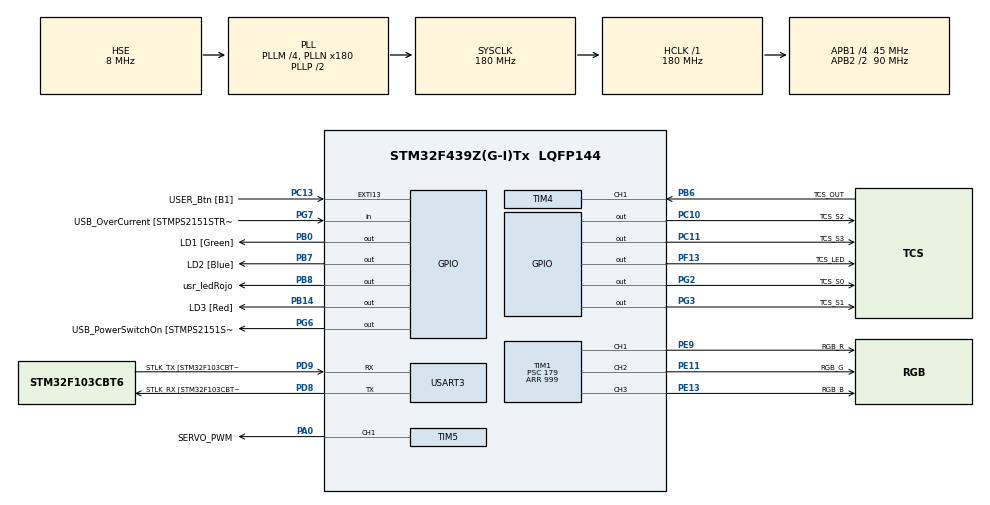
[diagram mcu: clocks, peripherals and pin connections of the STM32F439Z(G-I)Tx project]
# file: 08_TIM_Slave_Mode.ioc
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Mcu.Family=STM32F4
Mcu.Name=STM32F439Z(G-I)Tx
Mcu.Package=LQFP144
NVIC.PriorityGroup=NVIC_PRIORITYGROUP_4
NVIC.TIM3_IRQn=true\:0\:0\:false\:false\:true\:true\:true\:true
NVIC.TIM4_IRQn=true\:0\:0\:false\:false\:true\:true\:true\:true
PA0/WKUP.GPIO_Label=SERVO_PWM
PA0/WKUP.Signal=S_TIM5_CH1
PA13.GPIO_Label=TMS
PA13.Mode=Serial_Wire
PA13.Signal=SYS_JTMS-SWDIO
PA14.GPIO_Label=TCK
PA14.Mode=Serial_Wire
PA14.Signal=SYS_JTCK-SWCLK
PB0.GPIO_Label=LD1 [Green]
PB0.Signal=GPIO_Output
PB14.GPIO_Label=LD3 [Red]
PB14.Signal=GPIO_Output
PB6.GPIO_Label=TCS_OUT
PB6.Signal=S_TIM4_CH1
PB7.GPIO_Label=LD2 [Blue]
PB7.Signal=GPIO_Output
PB8.GPIO_Label=usr_ledRojo
PB8.Signal=GPIO_Output
PC10.GPIO_Label=TCS_S2
PC10.Signal=GPIO_Output
PC11.GPIO_Label=TCS_S3
PC11.Signal=GPIO_Output
PC13.GPIO_Label=USER_Btn [B1]
PC13.Signal=GPXTI13
PC14/OSC32_IN.Mode=LSE-External-Oscillator
PC14/OSC32_IN.Signal=RCC_OSC32_IN
PC15/OSC32_OUT.Mode=LSE-External-Oscillator
PC15/OSC32_OUT.Signal=RCC_OSC32_OUT
PD8.GPIO_Label=STLK_RX [STM32F103CBT6_PA3]
PD8.Mode=Asynchronous
PD8.Signal=USART3_TX
PD9.GPIO_Label=STLK_TX [STM32F103CBT6_PA2]
PD9.Mode=Asynchronous
PD9.Signal=USART3_RX
PE11.GPIO_Label=RGB_G
PE11.Signal=S_TIM1_CH2
PE13.GPIO_Label=RGB_B
PE13.Signal=S_TIM1_CH3
PE9.GPIO_Label=RGB_R
PE9.Signal=S_TIM1_CH1
PF13.GPIO_Label=TCS_LED
PF13.Signal=GPIO_Output
PG2.GPIO_Label=TCS_S0
PG2.PinState=GPIO_PIN_SET
PG2.Signal=GPIO_Output
PG3.GPIO_Label=TCS_S1
PG3.Signal=GPIO_Output
PG6.GPIO_Label=USB_PowerSwitchOn [STMPS2151STR_EN]
PG6.Signal=GPIO_Output
PG7.GPIO_Label=USB_OverCurrent [STMPS2151STR_FAULT]
PG7.Signal=GPIO_Input
PH0/OSC_IN.GPIO_Label=MCO [STM32F103CBT6_PA8]
PH0/OSC_IN.Mode=HSE-External-Oscillator
PH0/OSC_IN.Signal=RCC_OSC_IN
PH1/OSC_OUT.Mode=HSE-External-Oscillator
PH1/OSC_OUT.Signal=RCC_OSC_OUT
ProjectManager.HeapSize=0x200
ProjectManager.StackSize=0x400
ProjectManager.TargetToolchain=STM32CubeIDE
RCC.48MHZClocksFreq_Value=51428571.428571425
RCC.AHBFreq_Value=180000000
RCC.APB1CLKDivider=RCC_HCLK_DIV4
RCC.APB1Freq_Value=45000000
RCC.APB1TimFreq_Value=90000000
RCC.APB2CLKDivider=RCC_HCLK_DIV2
RCC.APB2Freq_Value=90000000
RCC.APB2TimFreq_Value=180000000
RCC.CortexFreq_Value=180000000
RCC.HCLKFreq_Value=180000000
RCC.HSE_VALUE=8000000
RCC.HSI_VALUE=16000000
RCC.PLLM=4
RCC.PLLMUL=RCC_PLL_MUL9
RCC.PLLN=180
RCC.PLLQ=7
RCC.PLLSourceVirtual=RCC_PLLSOURCE_HSE
RCC.PRESCALERUSB=RCC_USBCLKSOURCE_PLL_DIV1_5
RCC.SYSCLKFreq_VALUE=180000000
RCC.SYSCLKSource=RCC_SYSCLKSOURCE_PLLCLK
RCC.SYSCLKSourceVirtual=RCC_SYSCLKSOURCE_PLLCLK
RCC.USBFreq_Value=48000000
RCC.VCOOutputFreq_Value=360000000
SH.S_TIM1_CH1.0=TIM1_CH1,PWM Generation1 CH1
SH.S_TIM1_CH2.0=TIM1_CH2,PWM Generation2 CH2
SH.S_TIM1_CH3.0=TIM1_CH3,PWM Generation3 CH3
SH.S_TIM4_CH1.0=TIM4_CH1,TriggerSource_TI1FP1
SH.S_TIM5_CH1.0=TIM5_CH1,PWM Generation1 CH1
TIM1.Channel-PWM\ Generation1\ CH1=TIM_CHANNEL_1
TIM1.Channel-PWM\ Generation2\ CH2=TIM_CHANNEL_2
TIM1.Channel-PWM\ Generation3\ CH3=TIM_CHANNEL_3
TIM1.Period=999
TIM1.Prescaler=179
TIM3.Channel-PWM\ Generation1\ No\ Output=TIM_CHANNEL_1
TIM3.Period=1000-1
TIM3.Prescaler=9000-1
TIM3.TIM_MasterOutputTrigger=TIM_TRGO_OC1REF
TIM3.TIM_MasterSlaveMode=TIM_MASTERSLAVEMODE_ENABLE
TIM5.Channel-PWM\ Generation1\ CH1=TIM_CHANNEL_1
TIM5.Period=19999
TIM5.Prescaler=89
USART3.VirtualMode=VM_ASYNC
VP_TIM1_VS_ClockSourceINT.Mode=Internal
VP_TIM3_VS_ClockSourceINT.Mode=Internal
VP_TIM3_VS_no_output1.Mode=PWM Generation1 No Output
VP_TIM4_VS_ControllerModeClock.Mode=Clock Mode
VP_TIM5_VS_ClockSourceINT.Mode=Internal
board=NUCLEO-F439ZI

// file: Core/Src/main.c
/* USER CODE BEGIN Header */
/**
 ******************************************************************************
 * @file           : main.c
 * @brief          : Main program body
 ******************************************************************************
 * @attention
 *
 * Copyright (c) 2026 STMicroelectronics.
 * All rights reserved.
 *
 * This software is licensed under terms that can be found in the LICENSE file
 * in the root directory of this software component.
 * If no LICENSE file comes with this software, it is provided AS-IS.
 *
 ******************************************************************************
 */
/* USER CODE END Header */
#include "main.h"

/* USER CODE BEGIN Includes */
#include "rgb_led.h"
#include "servo_sg90.h"
#include "utils.h"
#include "tcs3200.h"
#include <stdio.h>
#include <string.h>
/* USER CODE END Includes */

/* USER CODE BEGIN PD */
typedef enum {
	ESTADO_NEGRO = 0,
	ESTADO_BLANCO,
	ESTADO_ROJO,
	ESTADO_VERDE,
	ESTADO_AZUL,
	ESTADO_AMARILLO, // R+G
	ESTADO_CIAN,     // G+B
	ESTADO_MAGENTA   // R+B
} EstadoColor_t;

// Estructura para evitar hardcoding
typedef struct {
	uint32_t negro;
	uint32_t blanco_entrar;
	uint32_t blanco_salir;
	uint8_t  estabilidad_requerida;
} Config_Umbrales_t;
/* USER CODE END PD */

TIM_HandleTypeDef htim1;
TIM_HandleTypeDef htim3;
TIM_HandleTypeDef htim4;
TIM_HandleTypeDef htim5;

UART_HandleTypeDef huart3;

/* USER CODE BEGIN PV */

// Valores calibrados para tu entorno
Config_Umbrales_t umbrales = {
		.negro = 5000,
		.blanco_entrar = 14000,
		.blanco_salir = 11000,
		.estabilidad_requerida = 2
};

// Variables de estado (deben ser globales o estáticas)
static EstadoColor_t estado_actual = ESTADO_NEGRO;
static uint8_t contador_estabilidad = 0;

Servo_t servoBrazo;

/* --- Objeto para el Led RGB --- */
rgb_led_t ledRGB;

// Instancia del Sensor
TCS3200_t       colorSensor;      // Instancia del driver de Capa 2

/* ========================================================================== */
/* --- DECLARACIÓN DE DESCRIPTORES AGAL PARA TU NUEVO DRIVER MULTIPLATAFORMA - */
/* ========================================================================== */
generic_pwm_t   tcs_counter_ch;
generic_gpio_t  tcs_s0;
generic_gpio_t  tcs_s1;
generic_gpio_t  tcs_s2;
generic_gpio_t  tcs_s3;
generic_gpio_t  tcs_led;

// Buffer para mensajes UART
char msg_buffer[64];

// Variables para lógica de cambio de filtro (Máquina de estados simple)
uint8_t filtro_actual = 0;

/* USER CODE END PV */

void SystemClock_Config(void);
static void MX_GPIO_Init(void);
static void MX_USART3_UART_Init(void);
static void MX_TIM3_Init(void);
static void MX_TIM4_Init(void);
static void MX_TIM1_Init(void);
static void MX_TIM5_Init(void);
/* USER CODE BEGIN PFP */
void Debug_Log(const char *msg);
void Procesar_Logica_Color(void);
void Heartbeat_Handler(void);

/* --- Prototipos de Funciones Adaptadoras (Capa de Acoplamiento / PAL) --- */
void	 PAL_STM32_GPIO_Write(generic_gpio_t gpio, bool state);
bool     PAL_STM32_GPIO_Read(generic_gpio_t gpio);
void     PAL_STM32_PWM_Write(generic_pwm_t ch, uint16_t value);
uint32_t PAL_STM32_GetTick(void);
uint32_t PAL_STM32_GetTimerCounter(generic_pwm_t ch);
void 	 PAL_STM32_SetTimerCounter(generic_pwm_t ch, uint32_t value);
uint32_t PAL_STM32_GetUs(void);

/* USER CODE END PFP */

/* USER CODE BEGIN 0 */
/**
 * @brief Envía un mensaje por UART3 de forma simplificada.
 * @param msg Cadena de texto a transmitir.
 */
void Debug_Log(const char *msg) {
	HAL_UART_Transmit(&huart3, (uint8_t*)msg, strlen(msg), 100);
}

void Procesar_Logica_Color(void) {
	colorSensor.measurement_ready = 0; // Ack de la medición

	// Paso 1: Solo procesamos cuando el ciclo RGB está completo (filtro azul terminado)
	if (filtro_actual == 2) {
		uint32_t r = colorSensor.frequency_red;
		uint32_t g = colorSensor.frequency_green;
		uint32_t b = colorSensor.frequency_blue;
		uint8_t nuevo_estado_raw;

		// --- Lógica de Decisión con Histéresis Optimizada (UTN FRT) ---
		uint32_t limite_blanco = (estado_actual == ESTADO_BLANCO) ?
				umbrales.blanco_salir : umbrales.blanco_entrar;

		// 1. Filtro de Negro / Fondo (Blindado contra ruido ambiente a < 5500)
		if (r < 5500 && g < 5500 && b < 5500) {
			nuevo_estado_raw = ESTADO_NEGRO;
		}
		// 2. Filtro de Blanco (Todos firmes arriba del límite de saturación)
		else if (r > limite_blanco && g > limite_blanco && b > limite_blanco) {
			nuevo_estado_raw = ESTADO_BLANCO;
		}
		// 3. Paleta de Colores por Relaciones de Aspecto Reales (Evidencia empírica)
		else {
			// Imprimimos la telemetría cruda en la UART para auditoría visual
			char msg_calibracion[64];
			sprintf(msg_calibracion, "RAW-> R:%lu G:%lu B:%lu\r\n", r, g, b);
			Debug_Log(msg_calibracion);

			// AMARILLO (R y G explotan hacia arriba, superan holgadamente al Azul)
			if (r > (b * 1.3f) && g > (b * 1.1f) && r > 12000) {
				nuevo_estado_raw = ESTADO_AMARILLO;
			}
			// MAGENTA (Exigimos que B supere los 7500 para dejar afuera al Rojo Puro de 6420)
			else if (r > (g * 1.5f) && b > (g * 1.5f) && b > 7500) {
				nuevo_estado_raw = ESTADO_MAGENTA;
			}
			// CIAN o AZUL (B y G dominan por completo al Rojo)
			else if (b > r && g > r && b > 10000) {
				// Si G aporta significativamente respecto a B es CIAN, sino es Azul Puro
				if (g > (b * 0.6f)) {
					nuevo_estado_raw = ESTADO_CIAN;
				} else {
					nuevo_estado_raw = ESTADO_AZUL;
				}
			}
			// --- COLORES PRIMARIOS PUROS (Por descarte directo si fallan las mezclas) ---
			else {
				if (r > g && r > b) {
					nuevo_estado_raw = ESTADO_ROJO;
				}
				else if (b > r && b > g) {
					nuevo_estado_raw = ESTADO_AZUL;
				}
				else {
					nuevo_estado_raw = ESTADO_VERDE;
				}
			}
		}

		// --- Filtro de Estabilidad (Anti-rebote de Capa 3) ---
		if (nuevo_estado_raw != estado_actual) {
			contador_estabilidad++;
			if (contador_estabilidad >= umbrales.estabilidad_requerida) {
				estado_actual = nuevo_estado_raw;
				contador_estabilidad = 0;

				// --- Ejecución de Acciones (Actuadores mediante abstracción PAL) ---
				switch (estado_actual) {
				case ESTADO_NEGRO:
					RGB_LED_SetColor(&ledRGB, 0, 0, 0);                 // LED Apagado
					SERVO_SG90_SetSpeedAngle(&servoBrazo, 0, 180.0f);   // Regresa suave a 0°
					Debug_Log(">> ESTABLE: NEGRO / VACÍO\r\n");
					break;
				case ESTADO_ROJO:
					RGB_LED_SetColor(&ledRGB, 1000, 0, 0);              // Rojo Puro
					SERVO_SG90_SetSpeedAngle(&servoBrazo, 25, 180.0f);  // Mover a 25°
					Debug_Log(">> ESTABLE: ROJO\r\n");
					break;
				case ESTADO_AMARILLO:
					RGB_LED_SetColor(&ledRGB, 1000, 1000, 0);           // Mezcla Amarillo
					SERVO_SG90_SetSpeedAngle(&servoBrazo, 50, 180.0f);  // Mover a 50°
					Debug_Log(">> ESTABLE: AMARILLO\r\n");
					break;
				case ESTADO_VERDE:
					RGB_LED_SetColor(&ledRGB, 0, 1000, 0);              // Verde Puro
					SERVO_SG90_SetSpeedAngle(&servoBrazo, 75, 180.0f);  // Mover a 75°
					Debug_Log(">> ESTABLE: VERDE\r\n");
					break;
				case ESTADO_CIAN:
					RGB_LED_SetColor(&ledRGB, 0, 1000, 1000);           // Mezcla Cian
					SERVO_SG90_SetSpeedAngle(&servoBrazo, 100, 180.0f); // Mover a 100°
					Debug_Log(">> ESTABLE: CIAN\r\n");
					break;
				case ESTADO_AZUL:
					RGB_LED_SetColor(&ledRGB, 0, 0, 1000);              // Azul Puro
					SERVO_SG90_SetSpeedAngle(&servoBrazo, 125, 180.0f); // Mover a 125°
					Debug_Log(">> ESTABLE: AZUL\r\n");
					break;
				case ESTADO_MAGENTA:
					RGB_LED_SetColor(&ledRGB, 1000, 0, 1000);           // Mezcla Magenta
					SERVO_SG90_SetSpeedAngle(&servoBrazo, 150, 180.0f); // Mover a 150°
					Debug_Log(">> ESTABLE: MAGENTA\r\n");
					break;
				case ESTADO_BLANCO:
					RGB_LED_SetColor(&ledRGB, 1000, 1000, 1000);        // Blanco Brillante
					SERVO_SG90_SetSpeedAngle(&servoBrazo, 180, 180.0f); // Mover a 180°
					Debug_Log(">> ESTABLE: BLANCO\r\n");
					break;
				}
			}
		} else {
			contador_estabilidad = 0; // Reset si el color se consolidó
		}
	}

	// Paso 2: Secuenciador de filtros (Independiente del procesamiento)
	// Mantiene al hardware rotando de manera constante
	filtro_actual++;
	if(filtro_actual > 2) filtro_actual = 0;

	switch(filtro_actual) {
	case 0: TCS3200_SetFilter(&colorSensor, TCS_FILTER_RED);   break;
	case 1: TCS3200_SetFilter(&colorSensor, TCS_FILTER_GREEN); break;
	case 2: TCS3200_SetFilter(&colorSensor, TCS_FILTER_BLUE);  break;
	}
}

void Heartbeat_Handler(void) {
	static uint32_t last_tick = 0;
	// Parpadea cada 500ms sin importar qué pase con el resto del código
	if (HAL_GetTick() - last_tick >= 500) {
		HAL_GPIO_TogglePin(usr_ledRojo_GPIO_Port, usr_ledRojo_Pin);
		last_tick = HAL_GetTick();
	}
}

/* ========================================================================== */
/* ---- IMPLEMENTACIÓN DE ADAPTADORES DE HARDWARE (CONTRATOS PAL) ----------- */
/* ========================================================================== */

/* --- Adaptadores para PAL Universal --- */

void PAL_STM32_GPIO_Write(generic_gpio_t gpio, bool state) {
	HAL_GPIO_WritePin((GPIO_TypeDef*)gpio.port, gpio.pin, state ? GPIO_PIN_SET : GPIO_PIN_RESET);
}

bool PAL_STM32_GPIO_Read(generic_gpio_t gpio) {
	return (HAL_GPIO_ReadPin((GPIO_TypeDef*)gpio.port, gpio.pin) == GPIO_PIN_SET);
}

void PAL_STM32_PWM_Write(generic_pwm_t ch, uint16_t value) {
	__HAL_TIM_SET_COMPARE((TIM_HandleTypeDef*)ch.timer_handle, ch.channel, value);
}

uint32_t PAL_STM32_GetTick(void) {
	return HAL_GetTick();
}

uint32_t PAL_STM32_GetTimerCounter(generic_pwm_t ch) {
	return __HAL_TIM_GET_COUNTER((TIM_HandleTypeDef*)ch.timer_handle);
}

// 2. Reutilizamos PWM_Write para resetear el contador (escribe en el registro del Timer)
void PAL_STM32_SetTimerCounter(generic_pwm_t ch, uint32_t value) {
	__HAL_TIM_SET_COUNTER((TIM_HandleTypeDef*)ch.timer_handle, value);
}

// 3. Adaptador de microsegundos mediante el registro CYCCNT del DWT interno del Cortex-M4
uint32_t PAL_STM32_GetUs(void) {
	return UTILS_GetUs();
}

/* USER CODE END 0 */

int main(void)
{

  /* MCU Configuration--------------------------------------------------------*/

  /* Reset of all peripherals, Initializes the Flash interface and the Systick. */
  HAL_Init();

  /* Configure the system clock */
  SystemClock_Config();

  /* Initialize all configured peripherals */
  MX_GPIO_Init();
  MX_USART3_UART_Init();
  MX_TIM3_Init();
  MX_TIM4_Init();
  MX_TIM1_Init();
  MX_TIM5_Init();
  /* USER CODE BEGIN 2 */

	// ==========================================================================
	// INICIALIZACIÓN DEL REGISTRO DWT (Cortex-M4 Cycle Counter)
	// ==========================================================================
	UTILS_DWT_Init();

	// ==========================================================================
	// 0. CONFIGURACIÓN DE LA PAL UNIVERSAL COMPARTIDA
	// ==========================================================================
	hal_interface_t sys_pal = {
			.pwm_write     = PAL_STM32_PWM_Write,
			.gpio_read     = PAL_STM32_GPIO_Read,
			.gpio_write    = PAL_STM32_GPIO_Write,
			.get_tick      = PAL_STM32_GetTick,
			.get_timer_cnt = PAL_STM32_GetTimerCounter,
			.oc_write      = PAL_STM32_SetTimerCounter,
			.get_us        = PAL_STM32_GetUs
	};

	// ==========================================================================
	// 1. CONFIGURACIÓN DEL SERVO SG90
	// ==========================================================================
	// Descriptor del canal PWM para el Servo (TIM5 Canal 1)
	generic_pwm_t servo_pwm = { .timer_handle = &htim5, .channel = TIM_CHANNEL_1 };

	// Inicialización con inyección de la PAL Universal
	SERVO_SG90_Init(&servoBrazo, servo_pwm, sys_pal, 520, 2540);

	/* Iniciar hardware del Timer (Específico de la capa de acoplamiento ST) */
	HAL_TIM_PWM_Start(&htim5, TIM_CHANNEL_1);
	Debug_Log("[OK] Periferico TIM5: PWM Servo Listo (Canal 2)\r\n");

	// ==========================================================================
	// 2. CONFIGURACION DEL LED RGB
	// ==========================================================================
	generic_pwm_t ch_r = { .timer_handle = &htim1, .channel = TIM_CHANNEL_1 };
	generic_pwm_t ch_g = { .timer_handle = &htim1, .channel = TIM_CHANNEL_2 };
	generic_pwm_t ch_b = { .timer_handle = &htim1, .channel = TIM_CHANNEL_3 };

	// Inyectamos la misma PAL Universal compartida
	RGB_LED_Init(&ledRGB, ch_r, ch_g, ch_b, RGB_ANODE_COMMON, 500, sys_pal);
	RGB_LED_SetColor(&ledRGB, 0, 0, 0);

	HAL_TIM_PWM_Start(&htim1, TIM_CHANNEL_1);
	HAL_TIM_PWM_Start(&htim1, TIM_CHANNEL_2);
	HAL_TIM_PWM_Start(&htim1, TIM_CHANNEL_3);
	Debug_Log("[OK] Periferico TIM1: PWM RGB Activo\r\n");

	// ==========================================================================
	// 3. CONFIGURACIÓN DEL SENSOR TCS3200 MULTIPLATAFORMA (Estrategia Sampling)
	// ==========================================================================
	// Vinculamos el Timer Contador (TIM4) al descriptor genérico
	tcs_counter_ch.timer_handle = &htim4;
	tcs_counter_ch.channel      = TIM_CHANNEL_1; // Cumplimos con la firma genérica

	// Mapeo de los Pines GPIO al formato de la PAL Universal
	tcs_s0.port  = TCS_S0_GPIO_Port;  tcs_s0.pin  = TCS_S0_Pin;
	tcs_s1.port  = TCS_S1_GPIO_Port;  tcs_s1.pin  = TCS_S1_Pin;
	tcs_s2.port  = TCS_S2_GPIO_Port;  tcs_s2.pin  = TCS_S2_Pin;
	tcs_s3.port  = TCS_S3_GPIO_Port;  tcs_s3.pin  = TCS_S3_Pin;
	tcs_led.port = TCS_LED_GPIO_Port; tcs_led.pin = TCS_LED_Pin;

	// Inicialización del nuevo Driver Agnóstico inyectando la PAL
	TCS3200_Init(&colorSensor, sys_pal, tcs_counter_ch);

	// Configuración de los pines a través de la API portátil
	TCS3200_ConfigGPIO(&colorSensor, tcs_s0, tcs_s1, tcs_s2, tcs_s3, tcs_led);

	// --- 3. Control Inicial Genérico ---
	TCS3200_ControlLED(&colorSensor, TCS_LED_ON);    // Prender luz frontal por PAL
	TCS3200_SetFilter(&colorSensor, TCS_FILTER_RED); // Empezar leyendo ROJO por PAL

	Debug_Log("--- Sistema Iniciado: Driver TCS3200 Multiplataforma ---\r\n");

	// --- 4. Arrancar Medición Continua (Especificidad del Silicio ST) ---
	// Reseteamos y encendemos los timers nativos para que el conteo empiece físicamente
	__HAL_TIM_SET_COUNTER(&htim4, 0);
	HAL_TIM_Base_Start(&htim4);     // TIM4 cuenta pulsos en PB6 de forma autónoma
	HAL_TIM_Base_Start_IT(&htim3);  // TIM3 abre la ventana cada 100ms con interrupción

  /* USER CODE END 2 */

  /* Infinite loop */
	while (1)
	{

    /* USER CODE BEGIN 3 */
		// 1. Tarea del Sensor (Cada 100ms procesa color)
		if (colorSensor.measurement_ready) {
			Procesar_Logica_Color();
		}

		// 2. Tarea del Servo (Actualiza la posición suave en cada vuelta)
		SERVO_SG90_Update(&servoBrazo);

		// 3. Heartbeat (LED de estado)
		Heartbeat_Handler();
	}
  /* USER CODE END 3 */
}

void SystemClock_Config(void)
{
  RCC_OscInitTypeDef RCC_OscInitStruct = {0};
  RCC_ClkInitTypeDef RCC_ClkInitStruct = {0};

  /** Configure the main internal regulator output voltage
  */
  __HAL_RCC_PWR_CLK_ENABLE();
  __HAL_PWR_VOLTAGESCALING_CONFIG(PWR_REGULATOR_VOLTAGE_SCALE1);

  /** Initializes the RCC Oscillators according to the specified parameters
  * in the RCC_OscInitTypeDef structure.
  */
  RCC_OscInitStruct.OscillatorType = RCC_OSCILLATORTYPE_HSE;
  RCC_OscInitStruct.HSEState = RCC_HSE_ON;
  RCC_OscInitStruct.PLL.PLLState = RCC_PLL_ON;
  RCC_OscInitStruct.PLL.PLLSource = RCC_PLLSOURCE_HSE;
  RCC_OscInitStruct.PLL.PLLM = 4;
  RCC_OscInitStruct.PLL.PLLN = 180;
  RCC_OscInitStruct.PLL.PLLP = RCC_PLLP_DIV2;
  RCC_OscInitStruct.PLL.PLLQ = 7;
  if (HAL_RCC_OscConfig(&RCC_OscInitStruct) != HAL_OK)
  {
    Error_Handler();
  }

  /** Activate the Over-Drive mode
  */
  if (HAL_PWREx_EnableOverDrive() != HAL_OK)
  {
    Error_Handler();
  }

  /** Initializes the CPU, AHB and APB buses clocks
  */
  RCC_ClkInitStruct.ClockType = RCC_CLOCKTYPE_HCLK|RCC_CLOCKTYPE_SYSCLK
                              |RCC_CLOCKTYPE_PCLK1|RCC_CLOCKTYPE_PCLK2;
  RCC_ClkInitStruct.SYSCLKSource = RCC_SYSCLKSOURCE_PLLCLK;
  RCC_ClkInitStruct.AHBCLKDivider = RCC_SYSCLK_DIV1;
  RCC_ClkInitStruct.APB1CLKDivider = RCC_HCLK_DIV4;
  RCC_ClkInitStruct.APB2CLKDivider = RCC_HCLK_DIV2;

  if (HAL_RCC_ClockConfig(&RCC_ClkInitStruct, FLASH_LATENCY_5) != HAL_OK)
  {
    Error_Handler();
  }
}

static void MX_TIM1_Init(void)
{

  TIM_ClockConfigTypeDef sClockSourceConfig = {0};
  TIM_MasterConfigTypeDef sMasterConfig = {0};
  TIM_OC_InitTypeDef sConfigOC = {0};
  TIM_BreakDeadTimeConfigTypeDef sBreakDeadTimeConfig = {0};

  htim1.Instance = TIM1;
  htim1.Init.Prescaler = 179;
  htim1.Init.CounterMode = TIM_COUNTERMODE_UP;
  htim1.Init.Period = 999;
  htim1.Init.ClockDivision = TIM_CLOCKDIVISION_DIV1;
  htim1.Init.RepetitionCounter = 0;
  htim1.Init.AutoReloadPreload = TIM_AUTORELOAD_PRELOAD_DISABLE;
  if (HAL_TIM_Base_Init(&htim1) != HAL_OK)
  {
    Error_Handler();
  }
  sClockSourceConfig.ClockSource = TIM_CLOCKSOURCE_INTERNAL;
  if (HAL_TIM_ConfigClockSource(&htim1, &sClockSourceConfig) != HAL_OK)
  {
    Error_Handler();
  }
  if (HAL_TIM_PWM_Init(&htim1) != HAL_OK)
  {
    Error_Handler();
  }
  sMasterConfig.MasterOutputTrigger = TIM_TRGO_RESET;
  sMasterConfig.MasterSlaveMode = TIM_MASTERSLAVEMODE_DISABLE;
  if (HAL_TIMEx_MasterConfigSynchronization(&htim1, &sMasterConfig) != HAL_OK)
  {
    Error_Handler();
  }
  sConfigOC.OCMode = TIM_OCMODE_PWM1;
  sConfigOC.Pulse = 0;
  sConfigOC.OCPolarity = TIM_OCPOLARITY_HIGH;
  sConfigOC.OCNPolarity = TIM_OCNPOLARITY_HIGH;
  sConfigOC.OCFastMode = TIM_OCFAST_DISABLE;
  sConfigOC.OCIdleState = TIM_OCIDLESTATE_RESET;
  sConfigOC.OCNIdleState = TIM_OCNIDLESTATE_RESET;
  if (HAL_TIM_PWM_ConfigChannel(&htim1, &sConfigOC, TIM_CHANNEL_1) != HAL_OK)
  {
    Error_Handler();
  }
  if (HAL_TIM_PWM_ConfigChannel(&htim1, &sConfigOC, TIM_CHANNEL_2) != HAL_OK)
  {
    Error_Handler();
  }
  if (HAL_TIM_PWM_ConfigChannel(&htim1, &sConfigOC, TIM_CHANNEL_3) != HAL_OK)
  {
    Error_Handler();
  }
  sBreakDeadTimeConfig.OffStateRunMode = TIM_OSSR_DISABLE;
  sBreakDeadTimeConfig.OffStateIDLEMode = TIM_OSSI_DISABLE;
  sBreakDeadTimeConfig.LockLevel = TIM_LOCKLEVEL_OFF;
  sBreakDeadTimeConfig.DeadTime = 0;
  sBreakDeadTimeConfig.BreakState = TIM_BREAK_DISABLE;
  sBreakDeadTimeConfig.BreakPolarity = TIM_BREAKPOLARITY_HIGH;
  sBreakDeadTimeConfig.AutomaticOutput = TIM_AUTOMATICOUTPUT_DISABLE;
  if (HAL_TIMEx_ConfigBreakDeadTime(&htim1, &sBreakDeadTimeConfig) != HAL_OK)
  {
    Error_Handler();
  }
  HAL_TIM_MspPostInit(&htim1);

}

static void MX_TIM3_Init(void)
{

  TIM_ClockConfigTypeDef sClockSourceConfig = {0};
  TIM_MasterConfigTypeDef sMasterConfig = {0};
  TIM_OC_InitTypeDef sConfigOC = {0};

  htim3.Instance = TIM3;
  htim3.Init.Prescaler = 9000-1;
  htim3.Init.CounterMode = TIM_COUNTERMODE_UP;
  htim3.Init.Period = 1000-1;
  htim3.Init.ClockDivision = TIM_CLOCKDIVISION_DIV1;
  htim3.Init.AutoReloadPreload = TIM_AUTORELOAD_PRELOAD_DISABLE;
  if (HAL_TIM_Base_Init(&htim3) != HAL_OK)
  {
    Error_Handler();
  }
  sClockSourceConfig.ClockSource = TIM_CLOCKSOURCE_INTERNAL;
  if (HAL_TIM_ConfigClockSource(&htim3, &sClockSourceConfig) != HAL_OK)
  {
    Error_Handler();
  }
  if (HAL_TIM_PWM_Init(&htim3) != HAL_OK)
  {
    Error_Handler();
  }
  sMasterConfig.MasterOutputTrigger = TIM_TRGO_OC1REF;
  sMasterConfig.MasterSlaveMode = TIM_MASTERSLAVEMODE_ENABLE;
  if (HAL_TIMEx_MasterConfigSynchronization(&htim3, &sMasterConfig) != HAL_OK)
  {
    Error_Handler();
  }
  sConfigOC.OCMode = TIM_OCMODE_PWM1;
  sConfigOC.Pulse = 0;
  sConfigOC.OCPolarity = TIM_OCPOLARITY_HIGH;
  sConfigOC.OCFastMode = TIM_OCFAST_DISABLE;
  if (HAL_TIM_PWM_ConfigChannel(&htim3, &sConfigOC, TIM_CHANNEL_1) != HAL_OK)
  {
    Error_Handler();
  }

}

static void MX_TIM4_Init(void)
{

  TIM_SlaveConfigTypeDef sSlaveConfig = {0};
  TIM_MasterConfigTypeDef sMasterConfig = {0};

  htim4.Instance = TIM4;
  htim4.Init.Prescaler = 0;
  htim4.Init.CounterMode = TIM_COUNTERMODE_UP;
  htim4.Init.Period = 65535;
  htim4.Init.ClockDivision = TIM_CLOCKDIVISION_DIV1;
  htim4.Init.AutoReloadPreload = TIM_AUTORELOAD_PRELOAD_DISABLE;
  if (HAL_TIM_Base_Init(&htim4) != HAL_OK)
  {
    Error_Handler();
  }
  sSlaveConfig.SlaveMode = TIM_SLAVEMODE_EXTERNAL1;
  sSlaveConfig.InputTrigger = TIM_TS_TI1FP1;
  sSlaveConfig.TriggerPolarity = TIM_TRIGGERPOLARITY_RISING;
  sSlaveConfig.TriggerFilter = 0;
  if (HAL_TIM_SlaveConfigSynchro(&htim4, &sSlaveConfig) != HAL_OK)
  {
    Error_Handler();
  }
  sMasterConfig.MasterOutputTrigger = TIM_TRGO_RESET;
  sMasterConfig.MasterSlaveMode = TIM_MASTERSLAVEMODE_DISABLE;
  if (HAL_TIMEx_MasterConfigSynchronization(&htim4, &sMasterConfig) != HAL_OK)
  {
    Error_Handler();
  }

}

static void MX_TIM5_Init(void)
{

  TIM_ClockConfigTypeDef sClockSourceConfig = {0};
  TIM_MasterConfigTypeDef sMasterConfig = {0};
  TIM_OC_InitTypeDef sConfigOC = {0};

  htim5.Instance = TIM5;
  htim5.Init.Prescaler = 89;
  htim5.Init.CounterMode = TIM_COUNTERMODE_UP;
  htim5.Init.Period = 19999;
  htim5.Init.ClockDivision = TIM_CLOCKDIVISION_DIV1;
  htim5.Init.AutoReloadPreload = TIM_AUTORELOAD_PRELOAD_DISABLE;
  if (HAL_TIM_Base_Init(&htim5) != HAL_OK)
  {
    Error_Handler();
  }
  sClockSourceConfig.ClockSource = TIM_CLOCKSOURCE_INTERNAL;
  if (HAL_TIM_ConfigClockSource(&htim5, &sClockSourceConfig) != HAL_OK)
  {
    Error_Handler();
  }
  if (HAL_TIM_PWM_Init(&htim5) != HAL_OK)
  {
    Error_Handler();
  }
  sMasterConfig.MasterOutputTrigger = TIM_TRGO_RESET;
  sMasterConfig.MasterSlaveMode = TIM_MASTERSLAVEMODE_DISABLE;
  if (HAL_TIMEx_MasterConfigSynchronization(&htim5, &sMasterConfig) != HAL_OK)
  {
    Error_Handler();
  }
  sConfigOC.OCMode = TIM_OCMODE_PWM1;
  sConfigOC.Pulse = 0;
  sConfigOC.OCPolarity = TIM_OCPOLARITY_HIGH;
  sConfigOC.OCFastMode = TIM_OCFAST_DISABLE;
  if (HAL_TIM_PWM_ConfigChannel(&htim5, &sConfigOC, TIM_CHANNEL_1) != HAL_OK)
  {
    Error_Handler();
  }
  HAL_TIM_MspPostInit(&htim5);

}

static void MX_USART3_UART_Init(void)
{

  huart3.Instance = USART3;
  huart3.Init.BaudRate = 115200;
  huart3.Init.WordLength = UART_WORDLENGTH_8B;
  huart3.Init.StopBits = UART_STOPBITS_1;
  huart3.Init.Parity = UART_PARITY_NONE;
  huart3.Init.Mode = UART_MODE_TX_RX;
  huart3.Init.HwFlowCtl = UART_HWCONTROL_NONE;
  huart3.Init.OverSampling = UART_OVERSAMPLING_16;
  if (HAL_UART_Init(&huart3) != HAL_OK)
  {
    Error_Handler();
  }

}

static void MX_GPIO_Init(void)
{
  GPIO_InitTypeDef GPIO_InitStruct = {0};

  /* GPIO Ports Clock Enable */
  __HAL_RCC_GPIOC_CLK_ENABLE();
  __HAL_RCC_GPIOH_CLK_ENABLE();
  __HAL_RCC_GPIOA_CLK_ENABLE();
  __HAL_RCC_GPIOB_CLK_ENABLE();
  __HAL_RCC_GPIOF_CLK_ENABLE();
  __HAL_RCC_GPIOE_CLK_ENABLE();
  __HAL_RCC_GPIOD_CLK_ENABLE();
  __HAL_RCC_GPIOG_CLK_ENABLE();

  /*Configure GPIO pin Output Level */
  HAL_GPIO_WritePin(GPIOB, LD1_Pin|LD3_Pin|LD2_Pin|usr_ledRojo_Pin, GPIO_PIN_RESET);

  /*Configure GPIO pin Output Level */
  HAL_GPIO_WritePin(TCS_LED_GPIO_Port, TCS_LED_Pin, GPIO_PIN_RESET);

  /*Configure GPIO pin Output Level */
  HAL_GPIO_WritePin(TCS_S0_GPIO_Port, TCS_S0_Pin, GPIO_PIN_SET);

  /*Configure GPIO pin Output Level */
  HAL_GPIO_WritePin(GPIOG, TCS_S1_Pin|USB_PowerSwitchOn_Pin, GPIO_PIN_RESET);

  /*Configure GPIO pin Output Level */
  HAL_GPIO_WritePin(GPIOC, TCS_S2_Pin|TCS_S3_Pin, GPIO_PIN_RESET);

  /*Configure GPIO pin : USER_Btn_Pin */
  GPIO_InitStruct.Pin = USER_Btn_Pin;
  GPIO_InitStruct.Mode = GPIO_MODE_IT_RISING;
  GPIO_InitStruct.Pull = GPIO_NOPULL;
  HAL_GPIO_Init(USER_Btn_GPIO_Port, &GPIO_InitStruct);

  /*Configure GPIO pins : LD1_Pin LD3_Pin LD2_Pin usr_ledRojo_Pin */
  GPIO_InitStruct.Pin = LD1_Pin|LD3_Pin|LD2_Pin|usr_ledRojo_Pin;
  GPIO_InitStruct.Mode = GPIO_MODE_OUTPUT_PP;
  GPIO_InitStruct.Pull = GPIO_NOPULL;
  GPIO_InitStruct.Speed = GPIO_SPEED_FREQ_LOW;
  HAL_GPIO_Init(GPIOB, &GPIO_InitStruct);

  /*Configure GPIO pin : TCS_LED_Pin */
  GPIO_InitStruct.Pin = TCS_LED_Pin;
  GPIO_InitStruct.Mode = GPIO_MODE_OUTPUT_PP;
  GPIO_InitStruct.Pull = GPIO_NOPULL;
  GPIO_InitStruct.Speed = GPIO_SPEED_FREQ_LOW;
  HAL_GPIO_Init(TCS_LED_GPIO_Port, &GPIO_InitStruct);

  /*Configure GPIO pins : TCS_S0_Pin TCS_S1_Pin USB_PowerSwitchOn_Pin */
  GPIO_InitStruct.Pin = TCS_S0_Pin|TCS_S1_Pin|USB_PowerSwitchOn_Pin;
  GPIO_InitStruct.Mode = GPIO_MODE_OUTPUT_PP;
  GPIO_InitStruct.Pull = GPIO_NOPULL;
  GPIO_InitStruct.Speed = GPIO_SPEED_FREQ_LOW;
  HAL_GPIO_Init(GPIOG, &GPIO_InitStruct);

  /*Configure GPIO pin : USB_OverCurrent_Pin */
  GPIO_InitStruct.Pin = USB_OverCurrent_Pin;
  GPIO_InitStruct.Mode = GPIO_MODE_INPUT;
  GPIO_InitStruct.Pull = GPIO_NOPULL;
  HAL_GPIO_Init(USB_OverCurrent_GPIO_Port, &GPIO_InitStruct);

  /*Configure GPIO pins : TCS_S2_Pin TCS_S3_Pin */
  GPIO_InitStruct.Pin = TCS_S2_Pin|TCS_S3_Pin;
  GPIO_InitStruct.Mode = GPIO_MODE_OUTPUT_PP;
  GPIO_InitStruct.Pull = GPIO_NOPULL;
  GPIO_InitStruct.Speed = GPIO_SPEED_FREQ_LOW;
  HAL_GPIO_Init(GPIOC, &GPIO_InitStruct);

}

/* USER CODE BEGIN 4 */

// Callback del temporizador metrónomo (TIM3 - Cada 100ms)
void HAL_TIM_PeriodElapsedCallback(TIM_HandleTypeDef *htim) {
	if (htim->Instance == TIM3) {
		// Llamamos al proceso del driver pasándole la instancia abstracta
		TCS3200_ProcessCallback(&colorSensor);
	}
}
/* USER CODE END 4 */

void Error_Handler(void)
{
	__disable_irq();
	while (1)
	{
	}
}
